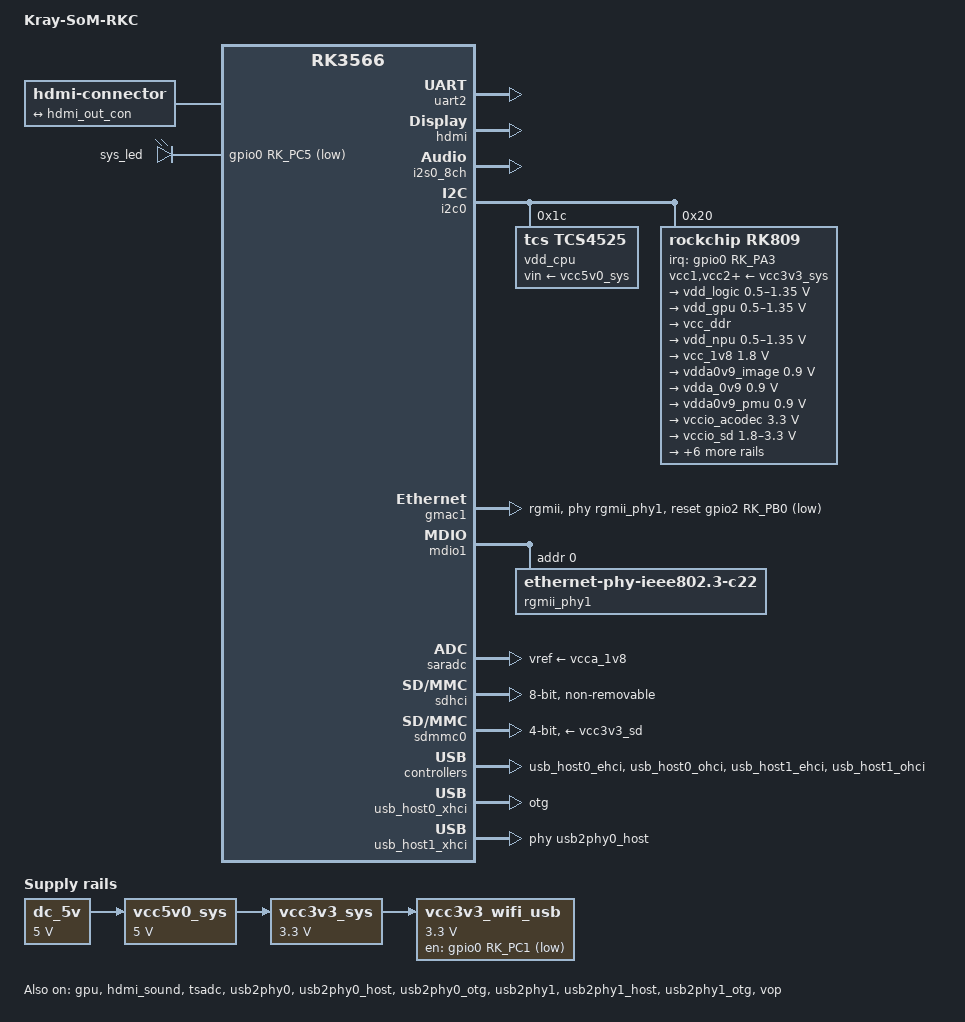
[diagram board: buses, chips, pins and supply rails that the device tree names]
// SPDX-License-Identifier: (GPL-2.0+ OR MIT)
/*
 * Kray-SoM-RKC (RK3566, GbE, USB-WiFi header, HDMI)
 *
 * Mainline port based on upstream rk3566-lubancat-1.dts, with board
 * specifics taken from EmbedFire's rk3566-lubancat-0.dts (lbc-develop-6.1).
 */

/dts-v1/;
#include <dt-bindings/gpio/gpio.h>
#include <dt-bindings/leds/common.h>
#include <dt-bindings/pinctrl/rockchip.h>
#include <dt-bindings/soc/rockchip,vop2.h>
#include "rk3566.dtsi"

/ {
	model = "Kray-SoM-RKC";
	compatible = "kray,som-rkc", "rockchip,rk3566";

	aliases {
		ethernet0 = &gmac1;
		mmc0 = &sdmmc0;
		mmc1 = &sdhci;
	};

	chosen: chosen {
		stdout-path = "serial2:1500000n8";
	};

	hdmi-con {
		compatible = "hdmi-connector";
		type = "c";

		port {
			hdmi_con_in: endpoint {
				remote-endpoint = <&hdmi_out_con>;
			};
		};
	};

	gpio-leds {
		compatible = "gpio-leds";

		sys_led: sys-led {
			label = "sys_led";
			linux,default-trigger = "heartbeat";
			default-state = "on";
			gpios = <&gpio0 RK_PC5 GPIO_ACTIVE_LOW>;
			pinctrl-names = "default";
			pinctrl-0 = <&sys_led_pin>;
		};
	};

	dc_5v: regulator-dc-5v {
		compatible = "regulator-fixed";
		regulator-name = "dc_5v";
		regulator-always-on;
		regulator-boot-on;
		regulator-min-microvolt = <5000000>;
		regulator-max-microvolt = <5000000>;
	};

	vcc5v0_sys: regulator-vcc5v0-sys {
		compatible = "regulator-fixed";
		regulator-name = "vcc5v0_sys";
		regulator-always-on;
		regulator-boot-on;
		regulator-min-microvolt = <5000000>;
		regulator-max-microvolt = <5000000>;
		vin-supply = <&dc_5v>;
	};

	vcc3v3_sys: regulator-vcc3v3-sys {
		compatible = "regulator-fixed";
		regulator-name = "vcc3v3_sys";
		regulator-always-on;
		regulator-boot-on;
		regulator-min-microvolt = <3300000>;
		regulator-max-microvolt = <3300000>;
		vin-supply = <&vcc5v0_sys>;
	};

	/* Power switch for the on-board USB WiFi module / header (active low) */
	vcc3v3_wifi_usb: regulator-vcc3v3-wifi-usb {
		compatible = "regulator-fixed";
		regulator-name = "vcc3v3_wifi_usb";
		regulator-always-on;
		regulator-boot-on;
		regulator-min-microvolt = <3300000>;
		regulator-max-microvolt = <3300000>;
		gpio = <&gpio0 RK_PC1 GPIO_ACTIVE_LOW>;
		pinctrl-names = "default";
		pinctrl-0 = <&wifi_pwren>;
		vin-supply = <&vcc3v3_sys>;
	};
};

&uart2 {
	status = "okay";
};

&cpu0 {
	cpu-supply = <&vdd_cpu>;
};

&cpu1 {
	cpu-supply = <&vdd_cpu>;
};

&cpu2 {
	cpu-supply = <&vdd_cpu>;
};

&cpu3 {
	cpu-supply = <&vdd_cpu>;
};

&gpu {
	mali-supply = <&vdd_gpu>;
	status = "okay";
};

&hdmi {
	avdd-0v9-supply = <&vdda0v9_image>;
	avdd-1v8-supply = <&vcca1v8_image>;
	status = "okay";
};

&hdmi_in {
	hdmi_in_vp0: endpoint {
		remote-endpoint = <&vp0_out_hdmi>;
	};
};

&hdmi_out {
	hdmi_out_con: endpoint {
		remote-endpoint = <&hdmi_con_in>;
	};
};

&hdmi_sound {
	status = "okay";
};

&i2s0_8ch {
	status = "okay";
};

&i2c0 {
	status = "okay";

	vdd_cpu: regulator@1c {
		compatible = "tcs,tcs4525";
		reg = <0x1c>;
		fcs,suspend-voltage-selector = <1>;
		regulator-name = "vdd_cpu";
		regulator-always-on;
		regulator-boot-on;
		regulator-min-microvolt = <800000>;
		regulator-max-microvolt = <1150000>;
		regulator-ramp-delay = <2300>;
		vin-supply = <&vcc5v0_sys>;

		regulator-state-mem {
			regulator-off-in-suspend;
		};
	};

	rk809: pmic@20 {
		compatible = "rockchip,rk809";
		reg = <0x20>;
		interrupt-parent = <&gpio0>;
		interrupts = <RK_PA3 IRQ_TYPE_LEVEL_LOW>;
		clock-output-names = "rk808-clkout1", "rk808-clkout2";

		pinctrl-names = "default";
		pinctrl-0 = <&pmic_int>;
		system-power-controller;
		wakeup-source;
		#clock-cells = <1>;

		vcc1-supply = <&vcc3v3_sys>;
		vcc2-supply = <&vcc3v3_sys>;
		vcc3-supply = <&vcc3v3_sys>;
		vcc4-supply = <&vcc3v3_sys>;
		vcc5-supply = <&vcc3v3_sys>;
		vcc6-supply = <&vcc3v3_sys>;
		vcc7-supply = <&vcc3v3_sys>;
		vcc8-supply = <&vcc3v3_sys>;
		vcc9-supply = <&vcc3v3_sys>;

		regulators {
			vdd_logic: DCDC_REG1 {
				regulator-name = "vdd_logic";
				regulator-always-on;
				regulator-boot-on;
				regulator-min-microvolt = <500000>;
				regulator-max-microvolt = <1350000>;
				regulator-ramp-delay = <6001>;
				regulator-initial-mode = <0x2>;

				regulator-state-mem {
					regulator-off-in-suspend;
				};
			};

			vdd_gpu: DCDC_REG2 {
				regulator-name = "vdd_gpu";
				regulator-always-on;
				regulator-boot-on;
				regulator-min-microvolt = <500000>;
				regulator-max-microvolt = <1350000>;
				regulator-ramp-delay = <6001>;
				regulator-initial-mode = <0x2>;

				regulator-state-mem {
					regulator-off-in-suspend;
				};
			};

			vcc_ddr: DCDC_REG3 {
				regulator-name = "vcc_ddr";
				regulator-always-on;
				regulator-boot-on;
				regulator-initial-mode = <0x2>;

				regulator-state-mem {
					regulator-on-in-suspend;
				};
			};

			vdd_npu: DCDC_REG4 {
				regulator-name = "vdd_npu";
				regulator-always-on;
				regulator-boot-on;
				regulator-min-microvolt = <500000>;
				regulator-max-microvolt = <1350000>;
				regulator-ramp-delay = <6001>;
				regulator-initial-mode = <0x2>;

				regulator-state-mem {
					regulator-off-in-suspend;
				};
			};

			vcc_1v8: DCDC_REG5 {
				regulator-name = "vcc_1v8";
				regulator-always-on;
				regulator-boot-on;
				regulator-min-microvolt = <1800000>;
				regulator-max-microvolt = <1800000>;

				regulator-state-mem {
					regulator-off-in-suspend;
				};
			};

			vdda0v9_image: LDO_REG1 {
				regulator-name = "vdda0v9_image";
				regulator-boot-on;
				regulator-always-on;
				regulator-min-microvolt = <900000>;
				regulator-max-microvolt = <900000>;

				regulator-state-mem {
					regulator-off-in-suspend;
				};
			};

			vdda_0v9: LDO_REG2 {
				regulator-name = "vdda_0v9";
				regulator-always-on;
				regulator-boot-on;
				regulator-min-microvolt = <900000>;
				regulator-max-microvolt = <900000>;

				regulator-state-mem {
					regulator-off-in-suspend;
				};
			};

			vdda0v9_pmu: LDO_REG3 {
				regulator-name = "vdda0v9_pmu";
				regulator-always-on;
				regulator-boot-on;
				regulator-min-microvolt = <900000>;
				regulator-max-microvolt = <900000>;

				regulator-state-mem {
					regulator-on-in-suspend;
					regulator-suspend-microvolt = <900000>;
				};
			};

			vccio_acodec: LDO_REG4 {
				regulator-name = "vccio_acodec";
				regulator-always-on;
				regulator-boot-on;
				regulator-min-microvolt = <3300000>;
				regulator-max-microvolt = <3300000>;

				regulator-state-mem {
					regulator-off-in-suspend;
				};
			};

			vccio_sd: LDO_REG5 {
				regulator-name = "vccio_sd";
				regulator-always-on;
				regulator-boot-on;
				regulator-min-microvolt = <1800000>;
				regulator-max-microvolt = <3300000>;

				regulator-state-mem {
					regulator-off-in-suspend;
				};
			};

			vcc3v3_pmu: LDO_REG6 {
				regulator-name = "vcc3v3_pmu";
				regulator-always-on;
				regulator-boot-on;
				regulator-min-microvolt = <3300000>;
				regulator-max-microvolt = <3300000>;

				regulator-state-mem {
					regulator-on-in-suspend;
					regulator-suspend-microvolt = <3300000>;
				};
			};

			vcca_1v8: LDO_REG7 {
				regulator-name = "vcca_1v8";
				regulator-always-on;
				regulator-boot-on;
				regulator-min-microvolt = <1800000>;
				regulator-max-microvolt = <1800000>;

				regulator-state-mem {
					regulator-off-in-suspend;
				};
			};

			vcca1v8_pmu: LDO_REG8 {
				regulator-name = "vcca1v8_pmu";
				regulator-always-on;
				regulator-boot-on;
				regulator-min-microvolt = <1800000>;
				regulator-max-microvolt = <1800000>;

				regulator-state-mem {
					regulator-on-in-suspend;
					regulator-suspend-microvolt = <1800000>;
				};
			};

			vcca1v8_image: LDO_REG9 {
				regulator-name = "vcca1v8_image";
				regulator-always-on;
				regulator-boot-on;
				regulator-min-microvolt = <1800000>;
				regulator-max-microvolt = <1800000>;

				regulator-state-mem {
					regulator-off-in-suspend;
				};
			};

			vcc_3v3: SWITCH_REG1 {
				regulator-name = "vcc_3v3";
				regulator-always-on;
				regulator-boot-on;

				regulator-state-mem {
					regulator-off-in-suspend;
				};
			};

			vcc3v3_sd: SWITCH_REG2 {
				regulator-name = "vcc3v3_sd";
				regulator-always-on;
				regulator-boot-on;

				regulator-state-mem {
					regulator-off-in-suspend;
				};
			};
		};
	};
};

/* RGMII PHY: JLSemi JL2101 or RTL8211F depending on board revision */
&gmac1 {
	phy-mode = "rgmii";
	clock_in_out = "output";
	snps,reset-gpio = <&gpio2 RK_PB0 GPIO_ACTIVE_LOW>;
	snps,reset-active-low;
	/* Reset time is 75ms, 100ms */
	snps,reset-delays-us = <0 75000 100000>;
	assigned-clocks = <&cru SCLK_GMAC1_RX_TX>, <&cru SCLK_GMAC1>;
	assigned-clock-parents = <&cru SCLK_GMAC1_RGMII_SPEED>, <&cru CLK_MAC1_2TOP>;
	assigned-clock-rates = <0>, <125000000>;
	pinctrl-names = "default";
	pinctrl-0 = <&gmac1m1_miim
		     &gmac1m1_tx_bus2_level3
		     &gmac1m1_rx_bus2
		     &gmac1m1_rgmii_clk_level2
		     &gmac1m1_rgmii_bus_level3>;
	tx_delay = <0x24>;
	rx_delay = <0x08>;
	phy-handle = <&rgmii_phy1>;
	status = "okay";
};

&mdio1 {
	rgmii_phy1: ethernet-phy@0 {
		compatible = "ethernet-phy-ieee802.3-c22";
		reg = <0x0>;
	};
};

&pinctrl {
	leds {
		sys_led_pin: sys-status-led-pin {
			rockchip,pins = <0 RK_PC5 RK_FUNC_GPIO &pcfg_pull_none>;
		};
	};

	pmic {
		pmic_int: pmic_int {
			rockchip,pins =
				<0 RK_PA3 RK_FUNC_GPIO &pcfg_pull_up>;
		};
	};

	wifi {
		wifi_pwren: wifi-pwren {
			rockchip,pins = <0 RK_PC1 RK_FUNC_GPIO &pcfg_pull_none>;
		};
	};
};

&pmu_io_domains {
	pmuio2-supply = <&vcc3v3_pmu>;
	vccio1-supply = <&vccio_acodec>;
	vccio3-supply = <&vccio_sd>;
	vccio4-supply = <&vcc_3v3>;
	vccio5-supply = <&vcc_3v3>;
	vccio6-supply = <&vcc_1v8>;
	vccio7-supply = <&vcc_3v3>;
	status = "okay";
};

&saradc {
	vref-supply = <&vcca_1v8>;
	status = "okay";
};

&tsadc {
	rockchip,hw-tshut-mode = <1>;
	rockchip,hw-tshut-polarity = <0>;
	status = "okay";
};

/* Optional eMMC (not populated on every SKU) */
&sdhci {
	assigned-clocks = <&cru BCLK_EMMC>, <&cru TCLK_EMMC>, <&cru CCLK_EMMC>;
	assigned-clock-rates = <200000000>, <24000000>, <200000000>;
	bus-width = <8>;
	max-frequency = <200000000>;
	mmc-hs200-1_8v;
	non-removable;
	pinctrl-names = "default";
	pinctrl-0 = <&emmc_bus8 &emmc_clk &emmc_cmd>;
	status = "okay";
};

&sdmmc0 {
	max-frequency = <150000000>;
	bus-width = <4>;
	cap-mmc-highspeed;
	cap-sd-highspeed;
	disable-wp;
	vmmc-supply = <&vcc3v3_sd>;
	vqmmc-supply = <&vccio_sd>;
	pinctrl-names = "default";
	pinctrl-0 = <&sdmmc0_bus4 &sdmmc0_clk &sdmmc0_cmd &sdmmc0_det>;
	status = "okay";
};

/* USB OTG/USB Host_1 USB 2.0 Comb */
&usb2phy0 {
	status = "okay";
};

&usb2phy0_host {
	status = "okay";
};

&usb2phy0_otg {
	status = "okay";
};

/* USB Host_2/USB Host_3 USB 2.0 Comb */
&usb2phy1 {
	status = "okay";
};

&usb2phy1_host {
	status = "okay";
};

&usb2phy1_otg {
	status = "okay";
};

&usb_host0_ehci {
	status = "okay";
};

&usb_host0_ohci {
	status = "okay";
};

&usb_host1_ehci {
	status = "okay";
};

&usb_host1_ohci {
	status = "okay";
};

/* USB3.0 OTG controller, wired as USB 2.0 only (Type-C) */
&usb_host0_xhci {
	dr_mode = "otg";
	extcon = <&usb2phy0>;
	status = "okay";
};

/* USB3.0 Host controller, wired as USB 2.0 only */
&usb_host1_xhci {
	phys = <&usb2phy0_host>;
	phy-names = "usb2-phy";
	maximum-speed = "high-speed";
	status = "okay";
};

&vop {
	assigned-clocks = <&cru DCLK_VOP0>, <&cru DCLK_VOP1>;
	assigned-clock-parents = <&pmucru PLL_HPLL>, <&cru PLL_VPLL>;
	status = "okay";
};

&vop_mmu {
	status = "okay";
};

&vp0 {
	vp0_out_hdmi: endpoint@ROCKCHIP_VOP2_EP_HDMI0 {
		reg = <ROCKCHIP_VOP2_EP_HDMI0>;
		remote-endpoint = <&hdmi_in_vp0>;
	};
};
